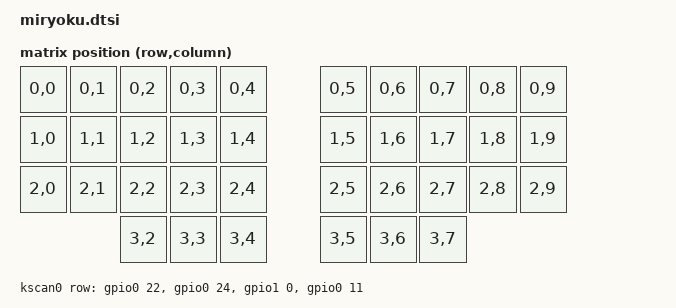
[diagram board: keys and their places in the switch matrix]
// Copyright 2022 Manna Harbour
// https://github.com/manna-harbour/miryoku

#include <behaviors.dtsi>
#include <behaviors/mouse_key_press.dtsi>
#if defined (MIRYOKU_KLUDGE_MOUSEKEYSPR)
  #include <behaviors/mouse_move.dtsi>
  #include <behaviors/mouse_scroll.dtsi>
#endif
#include <dt-bindings/zmk/keys.h>
#include <dt-bindings/zmk/bt.h>
#include <dt-bindings/zmk/rgb.h>
#include <dt-bindings/zmk/outputs.h>
#include <dt-bindings/zmk/ext_power.h>

#include "miryoku.h"

#include <dt-bindings/zmk/mouse.h>

/ {
  keymap {
    compatible = "zmk,keymap";
#define MIRYOKU_X(LAYER, STRING) \
    LAYER { \
      display-name = STRING; \
      bindings = < U_MACRO_VA_ARGS(MIRYOKU_LAYERMAPPING_##LAYER, MIRYOKU_LAYER_##LAYER) >; \
    };
MIRYOKU_LAYER_LIST
#undef MIRYOKU_X
  };

  chosen {
		zmk,kscan = &kscan0;
		zmk,matrix_transform = &default_transform;
	};

	default_transform: keymap_transform_0 {
		compatible = "zmk,matrix-transform";
		columns = <10>;
		rows = <4>;
		map = <
	 RC(0,0) RC(0,1) RC(0,2) RC(0,3) RC(0,4)   RC(0,5)  RC(0,6) RC(0,7) RC(0,8) RC(0,9) 
	 RC(1,0) RC(1,1) RC(1,2) RC(1,3) RC(1,4)   RC(1,5)  RC(1,6) RC(1,7) RC(1,8) RC(1,9) 
	 RC(2,0) RC(2,1) RC(2,2) RC(2,3) RC(2,4)   RC(2,5)  RC(2,6) RC(2,7) RC(2,8) RC(2,9) 
					 RC(3,2) RC(3,3) RC(3,4)   RC(3,5)  RC(3,6) RC(3,7)
		>;
	};
  
  kscan0: kscan {
        compatible = "zmk,kscan-gpio-matrix";
        label = "KSCAN";
        diode-direction = "col2row";
		row-gpios
			= <&gpio0 22 (GPIO_ACTIVE_HIGH | GPIO_PULL_DOWN)>
			, <&gpio0 24 (GPIO_ACTIVE_HIGH | GPIO_PULL_DOWN)>
			, <&gpio1 0  (GPIO_ACTIVE_HIGH | GPIO_PULL_DOWN)>
			, <&gpio0 11  (GPIO_ACTIVE_HIGH | GPIO_PULL_DOWN)>
			;
    };
};

#include "miryoku_shift_functions.dtsi"

#include "miryoku_double_tap_guard.dtsi"

#if defined (MIRYOKU_KLUDGE_MOUSEKEYSPR)
  #include "miryoku_kludge_mousekeyspr.dtsi"
#else
  #include "miryoku_mousekeys.dtsi"
#endif

#if defined (MIRYOKU_KLUDGE_THUMBCOMBOS)
  #include "miryoku_kludge_thumbcombos.dtsi"
#endif

#if defined (MIRYOKU_KLUDGE_TOPROWCOMBOS)
  #include "miryoku_kludge_toprowcombos.dtsi"
#endif

#if defined (MIRYOKU_KLUDGE_BOTTOMROWCOMBOS)
  #include "miryoku_kludge_bottomrowcombos.dtsi"
#endif

#if defined (MIRYOKU_KLUDGE_TAPDELAY)
  #include "miryoku_kludge_tapdelay.dtsi"
#else
  #include "miryoku_behaviors.dtsi"
#endif
